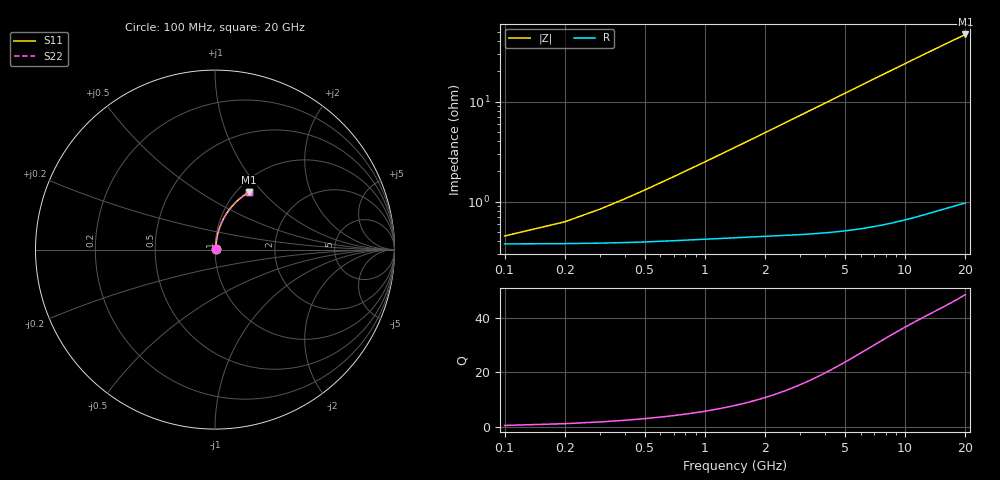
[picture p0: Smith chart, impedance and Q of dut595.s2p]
! Touchstone file exported from HFSS 2026.1.0
!  File:  C:/ffzhzh/LocalFiles/Ansys_Project_Files/temp_train_TMRDL_595_1783008488_55676.aedt
!  Generated:  12:09:28 AM Jul  3, 2026
!  Design:  TMRDL
!  Project:  temp_train_TMRDL_595_1783008488_55676
! Variables:
!  h_bsmrdl = 2um
!  h_ox = 20um
!  h_rdl = 5um
!  h_sub = 80um
!  h_tmrdl = 2.54um
!  h_tsv = 80um
!  h_via = 3um
!  l_bsmrdl = 300um
!  l_sub = 714.94um
!  l_tmrdl = 314.94um
!  m_sub = 200um
!  pitch = 53.87um
!  r_tsv = 6um
!  s_tmrdl = 10um
!  w_bsmrdl = 18um
!  w_sub = 500um
!  w_tmrdl = 12.25um
!  x_tsv_center1 = 321.065um
!  x_tsv_center2 = 639.065um
!  x_tsv_center3 = 966.255um
!  x_tsv_center4 = 1284.255um
!  x_tsv_center5 = 1611.445um
!  x_tsv_center6 = 1929.445um
# GHz S MA R 50.000000
! Terminal data exported
! Port[1] = TM_RDL1_1_T1
! Port[2] = TM_RDL1_1_T2
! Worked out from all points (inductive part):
!   200 points, 100 MHz to 20 GHz, reference 50 ohm
!   read as one part in series: L = 394 pH near 500 MHz
!   highest Q = 48.4 at 20 GHz (marker M1), where L = 373 pH
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0.1  0.004343 29.9  0.9962 -0.2  0.9962 -0.2  0.004343 29.9
! Gamma 0 0 0 0
! Port Impedance 50 0 50 0
0.3  0.007545 59.0  0.9962 -0.5  0.9962 -0.5  0.007545 59.0
0.4  0.009477 65.2  0.9961 -0.6  0.9961 -0.6  0.009477 65.2
0.5  0.01147 69.1  0.996 -0.8  0.996 -0.8  0.01147 69.1
0.6  0.0135 71.8  0.9959 -1.0  0.9959 -1.0  0.0135 71.8
0.8  0.01758 75.3  0.9958 -1.3  0.9958 -1.3  0.01758 75.3
1.1  0.02374 78.0  0.9955 -1.7  0.9955 -1.7  0.02374 78.0
1.3  0.02785 79.1  0.9953 -2.1  0.9953 -2.1  0.02785 79.1
1.5  0.03197 79.8  0.9951 -2.4  0.9951 -2.4  0.03197 79.8
1.8  0.03815 80.5  0.9949 -2.8  0.9949 -2.8  0.03815 80.5
2.1  0.04434 80.9  0.9945 -3.3  0.9945 -3.3  0.04434 80.9
2.7  0.05672 81.1  0.9938 -4.2  0.9938 -4.2  0.05672 81.1
3.5  0.07319 80.8  0.9926 -5.5  0.9926 -5.5  0.07319 80.8
4.2  0.08755 80.2  0.9913 -6.6  0.9913 -6.6  0.08755 80.2
5  0.1039 79.4  0.9896 -7.8  0.9896 -7.8  0.1039 79.4
5.9  0.1221 78.4  0.9873 -9.2  0.9873 -9.2  0.1221 78.3
6.8  0.1401 77.2  0.9847 -10.6  0.9847 -10.6  0.1401 77.2
8.3  0.1697 75.2  0.9796 -12.8  0.9796 -12.8  0.1697 75.2
10.1  0.2043 72.7  0.9725 -15.5  0.9725 -15.5  0.2043 72.7
13.4  0.2647 68.1  0.957 -20.3  0.957 -20.3  0.2647 68.1
16.7  0.3211 63.6  0.9388 -24.9  0.9388 -24.9  0.3211 63.6
20  0.3729 59.3  0.9189 -29.3  0.9189 -29.3  0.3729 59.3
